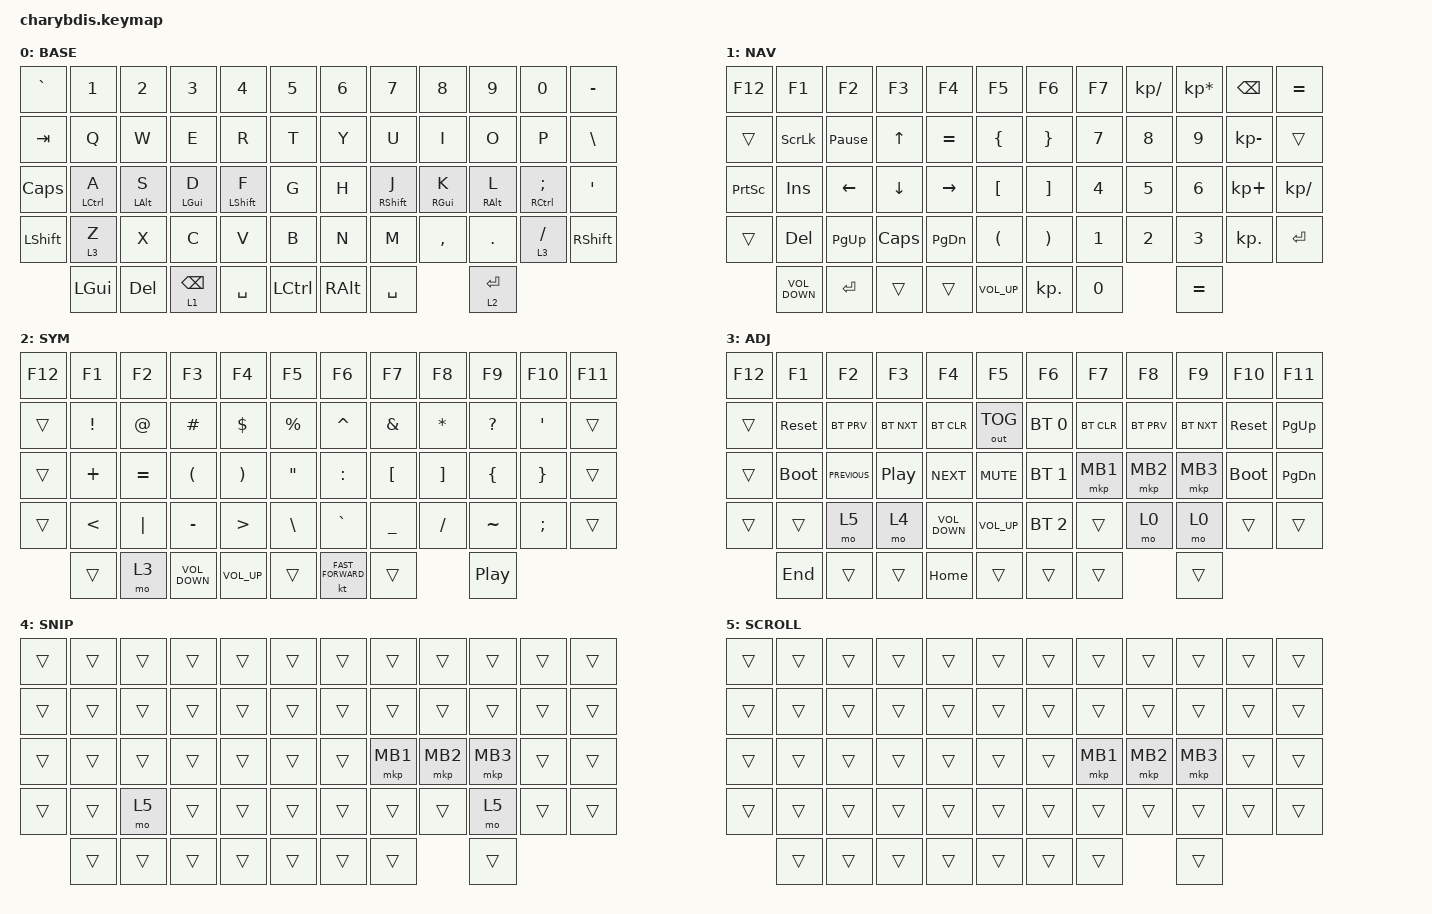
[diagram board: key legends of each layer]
#include <dt-bindings/zmk/mouse.h>
#include <behaviors/mouse_keys.dtsi>
#include <behaviors.dtsi>
#include <dt-bindings/zmk/bt.h>
#include <dt-bindings/zmk/keys.h>
#include <dt-bindings/zmk/outputs.h>
#include <dt-bindings/zmk/pointing.h>

/ {
    chosen { zmk,matrix_transform = &default_transform; };
};

&mt {
    quick-tap-ms = <500>;
    global-quick-tap;
    flavor = "tap-preferred";
    tapping-term-ms = <250>;
};

/ {
    combos {
        compatible = "zmk,combos";

        combo_esc {
            timeout-ms = <50>;
            key-positions = <0 1>;
            bindings = <&kp ESC>;
        };

        combo_back {
            timeout-ms = <50>;
            key-positions = <30 31>;
            bindings = <&kp LA(LEFT)>;
        };

        combo_copy {
            timeout-ms = <50>;
            key-positions = <38 39>;
            bindings = <&kp LC(C)>;
        };

        combo_paste {
            timeout-ms = <50>;
            key-positions = <39 40>;
            bindings = <&kp LC(V)>;
        };

        combo_cut {
            timeout-ms = <50>;
            key-positions = <37 38>;
            bindings = <&kp LC(X)>;
        };

        combo_ctrl_shift_a {
            timeout-ms = <50>;
            key-positions = <24 36>;
            bindings = <&kp LC(LS(A))>;
        };

        combo_ctrl_alt_s {
            timeout-ms = <50>;
            key-positions = <13 14>;
            bindings = <&kp LC(LA(S))>;
        };
    };

    keymap {
        compatible = "zmk,keymap";

        BASE {
            bindings = <
&kp GRAVE   &kp N1       &kp N2      &kp N3           &kp N4        &kp N5     &kp N6                &kp N7        &kp N8      &kp N9       &kp N0          &kp MINUS
&kp TAB     &kp Q        &kp W       &kp E            &kp R         &kp T                     &kp Y  &kp U         &kp I       &kp O        &kp P           &kp BACKSLASH
&kp CAPS    &mt LCTRL A  &mt LALT S  &mt LGUI D       &mt LSHIFT F  &kp G                     &kp H  &mt RSHIFT J  &mt RGUI K  &mt RALT L   &mt RCTRL SEMI  &kp APOS
&kp LSHIFT  &lt 3 Z      &kp X       &kp C            &kp V         &kp B                     &kp N  &kp M         &kp COMMA   &kp DOT      &lt 3 SLASH     &kp RSHIFT
            &kp LGUI     &kp DEL     &lt 1 BACKSPACE  &kp SPACE     &kp LCTRL  &kp RIGHT_ALT         &kp SPACE                 &lt 2 ENTER
            >;
        };

        NAV {
            bindings = <
&kp F12          &kp F1             &kp F2           &kp F3    &kp F4     &kp F5           &kp F6                &kp F7  &kp KP_DIVIDE  &kp KP_MULTIPLY  &kp BACKSPACE  &kp EQUAL
&trans           &kp SCROLLLOCK     &kp PAUSE_BREAK  &kp UP    &kp EQUAL  &kp LBRC                     &kp RBRC  &kp N7  &kp N8         &kp N9           &kp KP_MINUS   &trans
&kp PRINTSCREEN  &kp INSERT         &kp LEFT         &kp DOWN  &kp RIGHT  &kp LBKT                     &kp RBKT  &kp N4  &kp N5         &kp N6           &kp KP_PLUS    &kp KP_DIVIDE
&trans           &kp DEL            &kp PG_UP        &kp CAPS  &kp PG_DN  &kp LPAR                     &kp RPAR  &kp N1  &kp N2         &kp N3           &kp KP_DOT     &kp ENTER
                 &kp C_VOLUME_DOWN  &kp ENTER        &trans    &trans     &kp C_VOLUME_UP  &kp KP_DOT            &kp N0                 &kp EQUAL
            >;
        };

        SYM {
            bindings = <
&kp F12  &kp F1         &kp F2     &kp F3             &kp F4            &kp F5         &kp F6                         &kp F7          &kp F8     &kp F9            &kp F10        &kp F11
&trans   &kp EXCL       &kp AT     &kp HASH           &kp DLLR          &kp PRCNT                          &kp CARET  &kp AMPS        &kp STAR   &kp QUESTION      &kp SQT        &trans
&trans   &kp PLUS       &kp EQUAL  &kp LPAR           &kp RPAR          &kp DQT                            &kp COLON  &kp LBKT        &kp RBKT   &kp LBRC          &kp RBRC       &trans
&trans   &kp LESS_THAN  &kp PIPE   &kp MINUS          &kp GREATER_THAN  &kp BACKSLASH                      &kp GRAVE  &kp UNDERSCORE  &kp SLASH  &kp TILDE         &kp SEMICOLON  &trans
         &trans         &mo 3      &kp C_VOLUME_DOWN  &kp C_VOLUME_UP   &trans         &kt C_FAST_FORWARD             &trans                     &kp C_PLAY_PAUSE
            >;
        };

        ADJ {
            bindings = <
&kp F12  &kp F1       &kp F2          &kp F3            &kp F4             &kp F5           &kp F6                &kp F7      &kp F8      &kp F9      &kp F10      &kp F11
&trans   &sys_reset   &bt BT_PRV      &bt BT_NXT        &bt BT_CLR         &out OUT_TOG             &bt BT_SEL 0  &bt BT_CLR  &bt BT_PRV  &bt BT_NXT  &sys_reset   &kp PAGE_UP
&trans   &bootloader  &kp C_PREVIOUS  &kp C_PLAY_PAUSE  &kp C_NEXT         &kp C_MUTE               &bt BT_SEL 1  &mkp MB1    &mkp MB2    &mkp MB3    &bootloader  &kp PAGE_DOWN
&trans   &trans       &mo 5           &mo 4             &kp C_VOLUME_DOWN  &kp C_VOLUME_UP          &bt BT_SEL 2  &trans      &mo 0       &mo 0       &trans       &trans
         &kp END      &trans          &trans            &kp HOME           &trans           &trans                &trans                  &trans
            >;
        };

        SNIP {
            bindings = <
&trans  &trans  &trans  &trans  &trans  &trans  &trans          &trans    &trans    &trans    &trans  &trans
&trans  &trans  &trans  &trans  &trans  &trans          &trans  &trans    &trans    &trans    &trans  &trans
&trans  &trans  &trans  &trans  &trans  &trans          &trans  &mkp MB1  &mkp MB2  &mkp MB3  &trans  &trans
&trans  &trans  &mo 5   &trans  &trans  &trans          &trans  &trans    &trans    &mo 5     &trans  &trans
        &trans  &trans  &trans  &trans  &trans  &trans          &trans              &trans
            >;
        };

        SCROLL {
            bindings = <
&trans  &trans  &trans  &trans  &trans  &trans  &trans          &trans    &trans    &trans    &trans  &trans
&trans  &trans  &trans  &trans  &trans  &trans          &trans  &trans    &trans    &trans    &trans  &trans
&trans  &trans  &trans  &trans  &trans  &trans          &trans  &mkp MB1  &mkp MB2  &mkp MB3  &trans  &trans
&trans  &trans  &trans  &trans  &trans  &trans          &trans  &trans    &trans    &trans    &trans  &trans
        &trans  &trans  &trans  &trans  &trans  &trans          &trans              &trans
            >;
        };
    };
};
